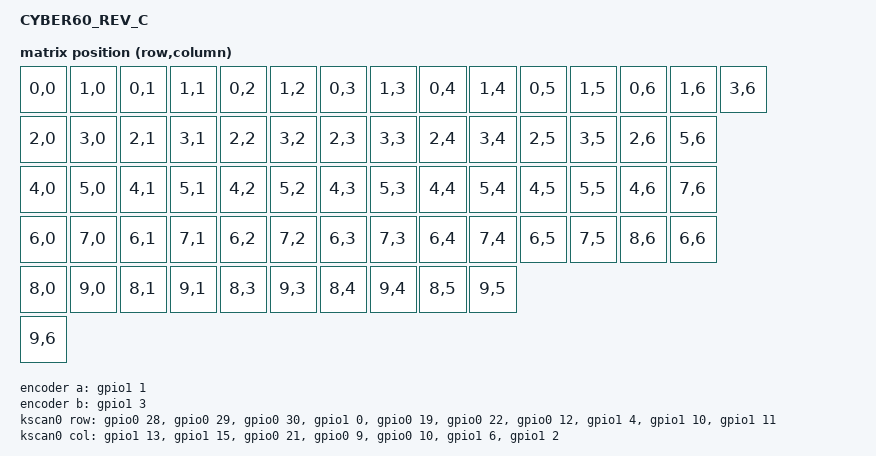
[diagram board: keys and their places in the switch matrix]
/*
 * Copyright (c) 2020 Stefan Sundin (4pplet)
 *
 * SPDX-License-Identifier: MIT
 */

#include <dt-bindings/zmk/matrix_transform.h>
#include <dt-bindings/led/led.h>
#include "cyber60_rev_c-pinctrl.dtsi"
#include "cyber60_rev_c-layouts.dtsi"

/ {
    model = "CYBER60_REV_C";
    compatible = "applet,cyber60";

    chosen {
        zmk,kscan = &kscan0;
        zmk,physical-layout = &layout_0;
        zmk,underglow = &led_strip;
        zmk,battery = &vbatt;
        zmk,studio-rpc-uart = &cdc_acm_uart;
    };

    vbatt: vbatt {
        compatible = "zmk,battery-voltage-divider";
        io-channels = <&adc 1>;
        output-ohms = <2000000>;
        full-ohms = <(1000000 + 2000000)>;
        power-gpios = <&gpio0 2 GPIO_ACTIVE_HIGH>;
    };

    sensors {
        compatible = "zmk,keymap-sensors";
        sensors = <&encoder>;
    };

    encoder: encoder_1 {
        compatible = "alps,ec11";
        a-gpios = <&gpio1 1 (GPIO_ACTIVE_HIGH | GPIO_PULL_UP)>;
        b-gpios = <&gpio1 3 (GPIO_ACTIVE_HIGH | GPIO_PULL_UP)>;
    };

    buzzer: pwm_buzzer {
        compatible = "pwm-buzzer";
        pwms = <&pwm0 0 1000 PWM_POLARITY_NORMAL>;
        status = "disabled";
    };

    leds {
        compatible = "gpio-leds";
        led_0: led_green {
            gpios = <&gpio0 5 GPIO_ACTIVE_LOW>;
            status = "okay";
        };
        led_1: led_red {
            gpios = <&gpio0 7 GPIO_ACTIVE_LOW>;
            status = "okay";
        };
        led_2: led_blue {
            gpios = <&gpio1 9 GPIO_ACTIVE_LOW>;
            status = "okay";
        };
    };

    aliases {
        ledgreen = &led_0;
        ledred   = &led_1;
        ledblue  = &led_2;
        buzzer = &buzzer;
    };

    ext-power {
        compatible = "zmk,ext-power-generic";
        control-gpios = <&gpio0 31 GPIO_ACTIVE_HIGH>;
    };

    default_transform: keymap_transform_0 {
        compatible = "zmk,matrix-transform";
        columns = <7>;
        rows = <10>;
        map = <
            RC(0,0) RC(1,0) RC(0,1) RC(1,1) RC(0,2) RC(1,2) RC(0,3) RC(1,3) RC(0,4) RC(1,4) RC(0,5) RC(1,5) RC(0,6) RC(1,6) RC(3,6)
            RC(2,0) RC(3,0) RC(2,1) RC(3,1) RC(2,2) RC(3,2) RC(2,3) RC(3,3) RC(2,4) RC(3,4) RC(2,5) RC(3,5) RC(2,6) RC(5,6)
            RC(4,0) RC(5,0) RC(4,1) RC(5,1) RC(4,2) RC(5,2) RC(4,3) RC(5,3) RC(4,4) RC(5,4) RC(4,5) RC(5,5) RC(4,6) RC(7,6)
            RC(6,0) RC(7,0) RC(6,1) RC(7,1) RC(6,2) RC(7,2) RC(6,3) RC(7,3) RC(6,4) RC(7,4) RC(6,5) RC(7,5) RC(8,6) RC(6,6)
            RC(8,0) RC(9,0) RC(8,1) RC(9,1) RC(8,3) RC(9,3) RC(8,4) RC(9,4) RC(8,5) RC(9,5)
            RC(9,6)
        >;
    };

    kscan0: kscan {
        compatible = "zmk,kscan-gpio-matrix";
        wakeup-source;
        diode-direction = "col2row";
        row-gpios
            = <&gpio0 28  (GPIO_ACTIVE_HIGH | GPIO_PULL_DOWN)>
            , <&gpio0 29 (GPIO_ACTIVE_HIGH | GPIO_PULL_DOWN)>
            , <&gpio0 30 (GPIO_ACTIVE_HIGH | GPIO_PULL_DOWN)>
            , <&gpio1 0 (GPIO_ACTIVE_HIGH | GPIO_PULL_DOWN)>
            , <&gpio0 19 (GPIO_ACTIVE_HIGH | GPIO_PULL_DOWN)>
            , <&gpio0 22 (GPIO_ACTIVE_HIGH | GPIO_PULL_DOWN)>
            , <&gpio0 12 (GPIO_ACTIVE_HIGH | GPIO_PULL_DOWN)>
            , <&gpio1 4 (GPIO_ACTIVE_HIGH | GPIO_PULL_DOWN)>
            , <&gpio1 10 (GPIO_ACTIVE_HIGH | GPIO_PULL_DOWN)>
            , <&gpio1 11 (GPIO_ACTIVE_HIGH | GPIO_PULL_DOWN)>
            ;
        col-gpios
            = <&gpio1 13  GPIO_ACTIVE_HIGH>
            , <&gpio1 15  GPIO_ACTIVE_HIGH>
            , <&gpio0 21  GPIO_ACTIVE_HIGH>
            , <&gpio0 9 GPIO_ACTIVE_HIGH>
            , <&gpio0 10 GPIO_ACTIVE_HIGH>
            , <&gpio1 6  GPIO_ACTIVE_HIGH>
            , <&gpio1 2 GPIO_ACTIVE_HIGH>
            ;
    };
};

&usbd {
    cdc_acm_uart: cdc_acm_uart {
        compatible = "zephyr,cdc-acm-uart";
    };
};

&pwm0 {
    status = "okay";
    pinctrl-0 = <&pwm0_default>;
    pinctrl-1 = <&pwm0_sleep>;
    pinctrl-names = "default", "sleep";
};

&spi3 {
    compatible = "nordic,nrf-spim";
    status = "okay";
    pinctrl-0 = <&spi3_default>;
    pinctrl-1 = <&spi3_sleep>;
    pinctrl-names = "default", "sleep";
    led_strip: ws2812@0 {
        compatible = "worldsemi,ws2812-spi";
        reg = <0>;
        spi-max-frequency = <4000000>;
        chain-length = <16>;
        spi-one-frame = <0x70>;
        spi-zero-frame = <0x40>;
        color-mapping = <LED_COLOR_ID_GREEN LED_COLOR_ID_RED LED_COLOR_ID_BLUE>;
    };
};
